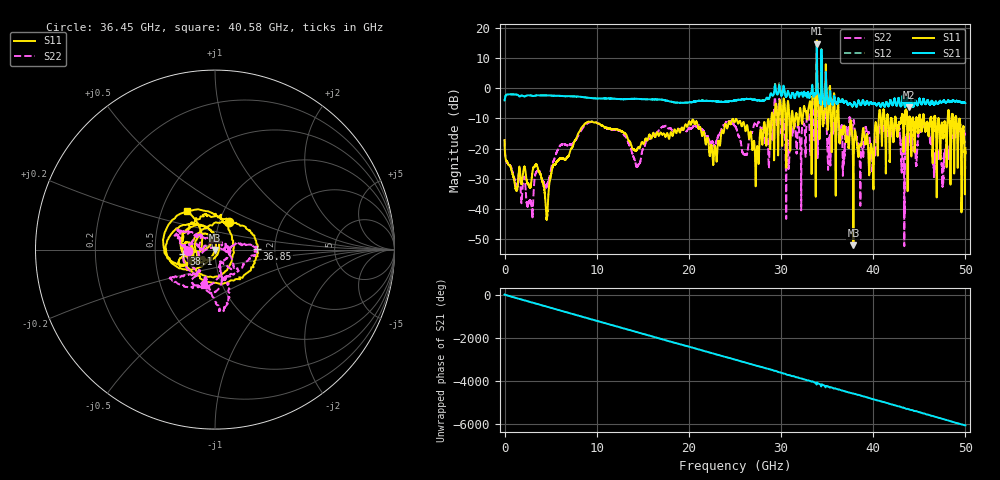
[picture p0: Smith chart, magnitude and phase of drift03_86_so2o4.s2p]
!Created with skrf (http://scikit-rf.org).
# Hz S RI R 50.0
!freq ReS11 ImS11 ReS21 ImS21 ReS12 ImS12 ReS22 ImS22
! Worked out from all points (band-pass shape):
!   10001 points, 300 kHz to 50 GHz, reference 50 ohm
!   highest |S21| = 14.87 dB at 33.88 GHz (marker M1); lowest = -6.3 dB at 43.92 GHz (marker M2)
!   |S21| within 3 dB of the highest: 33.86943 GHz to 33.88762 GHz (18.19 MHz wide, 0.0537 % of centre); 34.37791 GHz to 34.38753 GHz (9.612 MHz wide, 0.028 % of centre)
!   lowest |S11| = -52.0 dB at 37.85 GHz (marker M3), VSWR 1.01, Z = 50 - j0.25 ohm
!   |S11| at or under -10 dB: start of sweep to 28.94 GHz; 36.26 GHz to 40.6 GHz (4.336 GHz wide, 11.3 % of centre); 47.09 GHz to 48.08 GHz (990 MHz wide, 2.08 % of centre) (the widest 3 of 59)
!   |S22| runs from -52.4 to 11.6 dB; largest |S21 - S12| = 0.8
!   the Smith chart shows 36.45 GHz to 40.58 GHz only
!   S11 on the Smith chart (normalised r, x): 36.45 GHz: 1.12, +0.35; 36.85 GHz: 1.61, +0.01; 38.1 GHz: 0.70, -0.03; 40.58 GHz: 0.67, +0.31
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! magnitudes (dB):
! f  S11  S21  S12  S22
! 300 kHz  -17.2  -4.0  -4.0  -16.9
! 2.82 GHz  -32.6  -2.4  -2.4  -37.6
! 4.555 GHz  -43.5  -2.3  -2.3  -32.4
! 8.335 GHz  -13.1  -2.8  -2.8  -13.9
! 14.45 GHz  -19.9  -3.5  -3.5  -25.7
! 16.67 GHz  -15.4  -3.7  -3.7  -14.3
! 22.82 GHz  -19.2  -4.3  -4.3  -19.2
! 25 GHz  -11.0  -4.0  -4.0  -12.5
! 27.39 GHz  -19.5  -4.1  -4.0  -12.3
! 29.6 GHz  -10.4  -2.0  -2.1  -11.7
! 30.7 GHz  -5.5  -1.3  -1.4  -17.1
! 33.34 GHz  -13.8  -0.4  -0.5  -7.0
! 33.88 GHz  15.9  14.9  14.5  11.4
! 36.45 GHz  -15.3  -4.3  -4.3  -16.5
! 36.85 GHz  -12.6  -4.7  -4.7  -22.7
! 37.85 GHz  -52.0  -5.5  -5.4  -11.0
! 38.1 GHz  -15.0  -5.7  -5.7  -16.5
! 40.58 GHz  -11.5  -4.9  -5.0  -13.7
! 41.67 GHz  -12.0  -6.0  -5.9  -15.0
! 43.92 GHz  -10.0  -6.3  -6.1  -16.8
! 47.57 GHz  -15.2  -4.4  -4.3  -30.1
! 50 GHz  -19.9  -4.9  -4.8  -15.0
